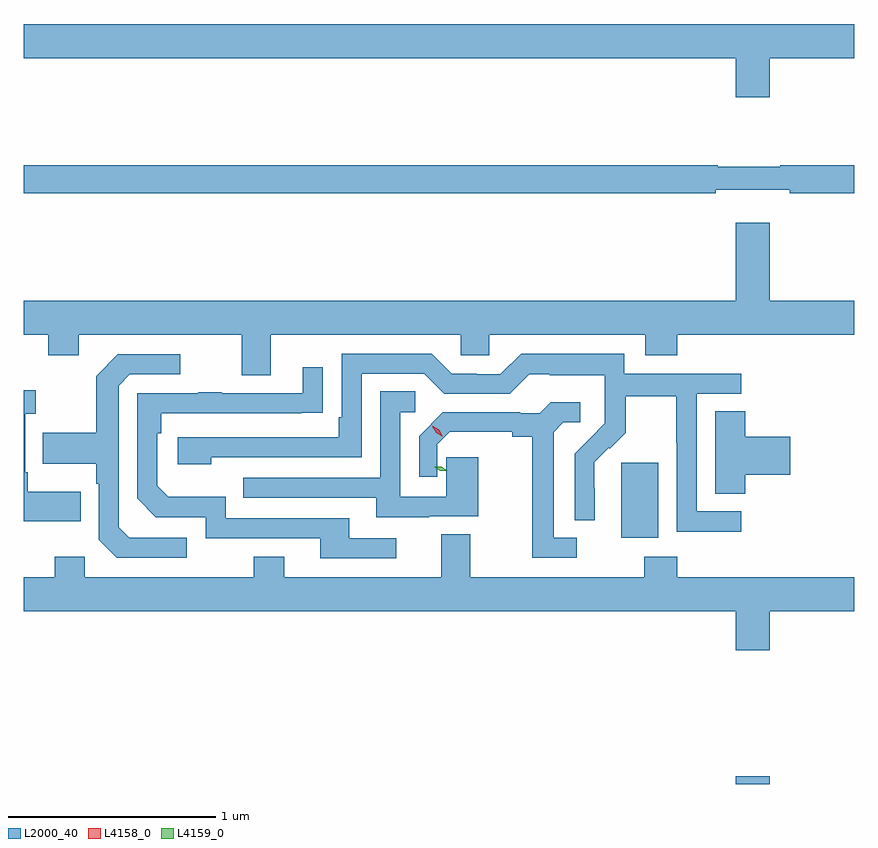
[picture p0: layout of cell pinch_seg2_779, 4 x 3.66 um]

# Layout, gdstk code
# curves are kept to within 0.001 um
import gdstk
lib = gdstk.Library(unit=1e-6, precision=1e-09)
def R(c, l, rs):  # rectangles x0, y0, x1, y1
    for r in rs: c.add(gdstk.rectangle(r[:2], r[2:], *l))
def P(c, l, *ps):  # polygons
    for p in ps: c.add(gdstk.Polygon(p, *l))
L2000_40 = (2000, 40)
L4158_0 = (4158, 0)
L4159_0 = (4159, 0)

pinch_seg2_779 = lib.new_cell('pinch_seg2_779')
R(pinch_seg2_779, L2000_40, [(740.432,602.849,740.596,602.887), (739.88,604.034,740.059,604.395)])
P(pinch_seg2_779, L2000_40, [(740.596,606.344),(741.003,606.344),(741.003,606.508),(737.003,606.508),(737.003,606.344),(740.432,606.344),(740.432,606.156),(740.596,606.156)],
  [(740.336,605.711),(740.692,605.711),(740.692,605.692),(741.003,605.692),(741.003,605.828),(740.645,605.828),(740.645,605.821),(740.345,605.821),(740.345,605.828),(737.003,605.828),(737.003,605.692),(740.336,605.692)],
  [(738.193,605.012),(739.107,605.012),(739.107,604.914),(739.245,604.914),(739.245,605.012),(739.997,605.012),(739.997,604.913),(740.15,604.913),(740.15,605.012),(741.003,605.012),(741.003,605.176),(740.596,605.176),(740.596,605.551),(740.432,605.551),(740.432,605.176),(737.003,605.176),(737.003,605.012),(737.122,605.012),(737.122,604.913),(737.269,604.913),(737.269,605.012),(738.053,605.012),(738.053,604.818),(738.193,604.818)],
  [(740.458,604.161),(740.244,604.161),(740.244,604.728),(740.458,604.728),(740.458,604.824),(739.896,604.824),(739.896,604.921),(739.399,604.921),(739.299,604.821),(739.184,604.821),(739.184,604.824),(739.065,604.824),(738.969,604.92),(738.534,604.92),(738.534,604.615),(738.521,604.615),(738.521,604.518),(737.745,604.518),(737.745,604.388),(737.906,604.388),(737.906,604.422),(738.63,604.422),(738.63,604.824),(738.933,604.824),(739.029,604.728),(739.344,604.728),(739.437,604.821),(739.537,604.821),(739.537,604.817),(739.8,604.817),(739.8,604.683),(739.802,604.683),(739.802,604.586),(739.656,604.438),(739.656,604.12),(739.752,604.12),(739.751,604.397),(739.821,604.467),(739.824,604.464),(739.901,604.541),(739.901,604.716),(740.146,604.716),(740.146,604.492),(740.148,604.492),(740.148,604.063),(740.458,604.063)],
  [(737.788,604.035),(737.511,604.035),(737.46,604.086),(737.46,604.767),(737.514,604.821),(737.758,604.821),(737.758,604.917),(737.457,604.917),(737.352,604.811),(737.352,604.539),(737.095,604.539),(737.095,604.391),(737.352,604.391),(737.352,604.295),(737.364,604.295),(737.364,604.026),(737.451,603.939),(737.788,603.939)],
  [(738.796,604.032),(738.571,604.032),(738.571,604.128),(737.976,604.128),(737.976,604.231),(737.699,604.231),(737.646,604.284),(737.646,604.538),(737.666,604.538),(737.666,604.635),(738.443,604.636),(738.443,604.855),(738.347,604.855),(738.347,604.731),(737.957,604.731),(737.957,604.736),(737.845,604.736),(737.845,604.731),(737.55,604.731),(737.55,604.224),(737.64,604.134),(737.88,604.134),(737.88,604.032),(738.431,604.032),(738.431,603.936),(738.796,603.936)],
  [(737.279,604.255),(737.023,604.255),(737.023,604.351),(737.01,604.351),(737.01,604.631),(737.062,604.631),(737.062,604.744),(737.003,604.744),(737.003,604.115),(737.279,604.115)],
  [(738.955,604.137),(739.192,604.137),(739.192,604.422),(739.038,604.422),(739.038,604.233),(738.816,604.233),(738.816,604.638),(738.889,604.638),(738.889,604.739),(738.72,604.739),(738.72,604.323),(738.061,604.323),(738.061,604.227),(738.701,604.227),(738.701,604.133),(738.955,604.133)],
  [(739.666,604.035),(739.555,604.035),(739.555,604.543),(739.602,604.59),(739.684,604.59),(739.684,604.687),(739.54,604.687),(739.488,604.635),(739.394,604.635),(739.394,604.638),(739.022,604.638),(738.907,604.523),(738.907,604.329),(738.995,604.329),(738.995,604.479),(738.99,604.479),(739.055,604.544),(739.355,604.544),(739.355,604.52),(739.451,604.52),(739.451,603.939),(739.666,603.939)],
  [(740.477,604.337),(740.695,604.337),(740.695,604.52),(740.477,604.52),(740.477,604.643),(740.333,604.643),(740.333,604.246),(740.477,604.246)],
  [(740.596,603.68),(741.003,603.68),(741.003,603.844),(740.15,603.844),(740.15,603.943),(739.99,603.943),(739.99,603.844),(739.153,603.844),(739.153,604.052),(739.013,604.052),(739.013,603.844),(738.259,603.844),(738.259,603.943),(738.112,603.943),(738.112,603.844),(737.298,603.844),(737.298,603.943),(737.152,603.943),(737.152,603.844),(737.003,603.844),(737.003,603.68),(740.432,603.68),(740.432,603.492),(740.596,603.492)])
P(pinch_seg2_779, L4158_0, [(739.02,604.522),(738.989,604.54),(738.971,604.572),(738.971,604.573),(738.971,604.573),(739.003,604.554),(739.021,604.522),(739.021,604.522)])
P(pinch_seg2_779, L4159_0, [(739.01,604.357),(738.983,604.375),(738.983,604.376),(738.984,604.376),(739.016,604.376),(739.042,604.358),(739.042,604.358),(739.042,604.358)])

lib.write_gds('pinch_seg2_779.gds')
